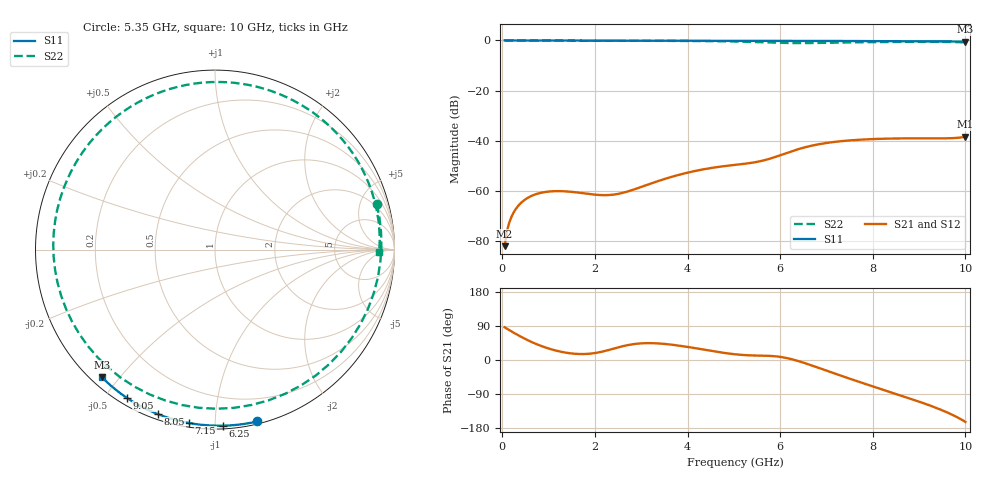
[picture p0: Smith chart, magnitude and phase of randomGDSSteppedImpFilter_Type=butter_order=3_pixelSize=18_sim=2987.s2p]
! freq	dB(S11)	phase(S11)	dB(S12)	phase(S12)
!  dB(S21)	phase(S21)	dB(S22)	phase(S22)
!S-par simulation data
#  GHz  S  DB  R 50
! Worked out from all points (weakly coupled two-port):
!   200 points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, 50 MHz to 10 GHz, reference 50 ohm
!   highest |S21| = -38.45 dB at 10 GHz (marker M1); lowest = -82.1 dB at 50 MHz (marker M2)
!   lowest |S11| = -0.4 dB at 10 GHz (marker M3), VSWR 39.09, Z = 1.54 - j22.5 ohm
!   |S11| at or under -10 dB: nowhere
!   |S22| runs from -1.1 to 0.0 dB; largest |S21 - S12| = 0
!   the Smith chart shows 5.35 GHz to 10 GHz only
!   S11 on the Smith chart (normalised r, x): 5.35 GHz: 0.02, -1.28; 6.25 GHz: 0.02, -1.04; 7.15 GHz: 0.02, -0.86; 8.05 GHz: 0.02, -0.71; 9.05 GHz: 0.03, -0.57; 10 GHz: 0.03, -0.45
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0.05  -0.00 -0.8  -82.09 86.3  -82.09 86.3  -0.01 -6.8
0.15  -0.00 -2.3  -72.68 78.9  -72.68 78.9  -0.03 -20.1
0.3  -0.01 -4.6  -67.04 68.2  -67.04 68.2  -0.05 -39.3
0.7  -0.01 -10.6  -61.51 43.9  -61.51 43.9  -0.09 -83.8
1.2  -0.02 -18.1  -60.12 23.6  -60.12 23.6  -0.11 -124.7
1.75  -0.03 -26.2  -60.97 15.7  -60.97 15.7  -0.11 -156.9
2.5  -0.05 -37.1  -61.23 33.3  -61.23 33.3  -0.12 169.0
3.4  -0.07 -49.9  -55.90 43.5  -55.90 43.5  -0.15 132.1
4.35  -0.09 -62.9  -51.40 27.4  -51.40 27.4  -0.25 87.4
5.05  -0.11 -72.2  -49.60 14.8  -49.60 14.8  -0.43 41.7
5.35  -0.12 -76.1  -48.92 12.2  -48.92 12.2  -0.57 15.7
5.75  -0.14 -81.2  -47.33 11.0  -47.33 11.0  -0.81 -27.0
6  -0.15 -84.4  -45.82 8.2  -45.82 8.2  -0.96 -57.7
6.25  -0.16 -87.5  -44.21 2.1  -44.21 2.1  -1.04 -89.5
6.7  -0.18 -93.1  -41.91 -15.1  -41.91 -15.1  -1.02 -142.9
7.15  -0.20 -98.5  -40.53 -34.5  -40.53 -34.5  -0.88 174.0
7.6  -0.23 -103.9  -39.75 -53.4  -39.75 -53.4  -0.75 140.0
8.05  -0.26 -109.2  -39.32 -71.6  -39.32 -71.6  -0.65 111.6
8.35  -0.29 -112.7  -39.16 -83.5  -39.16 -83.5  -0.60 94.5
9.05  -0.35 -120.7  -39.07 -112.0  -39.07 -112.0  -0.55 56.9
9.6  -0.40 -126.9  -39.05 -138.0  -39.05 -138.0  -0.59 26.1
10  -0.44 -131.4  -38.45 -163.2  -38.45 -163.2  -0.77 -0.8
